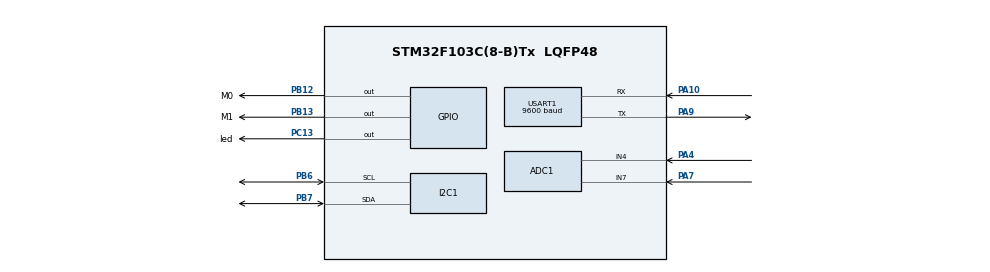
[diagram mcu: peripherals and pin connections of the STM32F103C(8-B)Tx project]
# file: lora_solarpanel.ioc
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ADC1.Channel-0\#ChannelRegularConversion=ADC_CHANNEL_4
ADC1.NbrOfConversionFlag=1
ADC1.Rank-0\#ChannelRegularConversion=1
ADC1.SamplingTime-0\#ChannelRegularConversion=ADC_SAMPLETIME_71CYCLES_5
ADC1.master=1
Mcu.Family=STM32F1
Mcu.Name=STM32F103C(8-B)Tx
Mcu.Package=LQFP48
NVIC.PriorityGroup=NVIC_PRIORITYGROUP_4
NVIC.USART1_IRQn=true\:0\:0\:false\:false\:true\:true\:true\:true
PA10.Mode=Asynchronous
PA10.Signal=USART1_RX
PA13.Mode=Serial_Wire
PA13.Signal=SYS_JTMS-SWDIO
PA14.Mode=Serial_Wire
PA14.Signal=SYS_JTCK-SWCLK
PA4.Signal=ADCx_IN4
PA7.Signal=ADCx_IN7
PA9.Mode=Asynchronous
PA9.Signal=USART1_TX
PB12.GPIO_Label=M0
PB12.Signal=GPIO_Output
PB13.GPIO_Label=M1
PB13.Signal=GPIO_Output
PB6.Mode=I2C
PB6.Signal=I2C1_SCL
PB7.Mode=I2C
PB7.Signal=I2C1_SDA
PC13-TAMPER-RTC.GPIO_Label=led
PC13-TAMPER-RTC.Signal=GPIO_Output
PD0-OSC_IN.Mode=HSE-External-Oscillator
PD0-OSC_IN.Signal=RCC_OSC_IN
PD1-OSC_OUT.Mode=HSE-External-Oscillator
PD1-OSC_OUT.Signal=RCC_OSC_OUT
ProjectManager.HeapSize=0x200
ProjectManager.StackSize=0x400
ProjectManager.TargetToolchain=STM32CubeIDE
RCC.APB1Freq_Value=8000000
RCC.APB2Freq_Value=8000000
SH.ADCx_IN4.0=ADC1_IN4,IN4
SH.ADCx_IN7.0=ADC1_IN7,IN7
USART1.BaudRate=9600
USART1.VirtualMode=VM_ASYNC
board=custom

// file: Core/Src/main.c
/* USER CODE BEGIN Header */
/**
  ******************************************************************************
  * @file           : main.c
  * @brief          : Main program body
  ******************************************************************************
  * @attention
  *
  * Copyright (c) 2025 STMicroelectronics.
  * All rights reserved.
  *
  * This software is licensed under terms that can be found in the LICENSE file
  * in the root directory of this software component.
  * If no LICENSE file comes with this software, it is provided AS-IS.
  *
  ******************************************************************************
  */
/* USER CODE END Header */
#include "main.h"

/* USER CODE BEGIN Includes */
#include "stdio.h"     // sprintf fomksiyou için

/* USER CODE END Includes */

ADC_HandleTypeDef hadc1;

I2C_HandleTypeDef hi2c1;

UART_HandleTypeDef huart1;

/* USER CODE BEGIN PV */

typedef struct{
	  float cur;
	  float temp;
	  float nem;
	  float volt;
  }DataPacket;

 uint8_t data[3] = {0x03,0x00,0x04};
 HAL_StatusTypeDef status;
 uint8_t buff[8];
 DataPacket packet;
 uint8_t startByte = 0xAA; // Başlangıç bayrağı
 uint8_t endByte = 0xBB;   // Bitiş bayrağı

 float adc_akim , adc_volt, adc_voltage,akim_sensor_volt;

/* USER CODE END PV */

void SystemClock_Config(void);
static void MX_GPIO_Init(void);
static void MX_USART1_UART_Init(void);
static void MX_I2C1_Init(void);
static void MX_ADC1_Init(void);
/* USER CODE BEGIN PFP */
void TransmitAddressAndChannel(uint8_t receiverAddressLow, uint8_t receiverAddressHigh, uint8_t channelInfo);
unsigned short crc16(unsigned char *ptr, unsigned char len);
void GetData_AM2315(void);

/* USER CODE END PFP */

int main(void)
{

  /* MCU Configuration--------------------------------------------------------*/

  /* Reset of all peripherals, Initializes the Flash interface and the Systick. */
  HAL_Init();

  /* Configure the system clock */
  SystemClock_Config();

  /* Initialize all configured peripherals */
  MX_GPIO_Init();
  MX_USART1_UART_Init();
  MX_I2C1_Init();
  MX_ADC1_Init();
  /* USER CODE BEGIN 2 */
  HAL_GPIO_WritePin(M0_GPIO_Port, M0_Pin, GPIO_PIN_RESET);
  HAL_GPIO_WritePin(M1_GPIO_Port, M1_Pin, GPIO_PIN_RESET);

  packet.cur=1.11;
  packet.volt=11.11;
  ADC_ChannelConfTypeDef sConfig = {0};

  /* USER CODE END 2 */

  /* Infinite loop */
  while (1)
  {

    /* USER CODE BEGIN 3 */
  	  HAL_I2C_IsDeviceReady(&hi2c1, 0xb8, 2, 1);
	  GetData_AM2315();

	  sConfig.Channel = ADC_CHANNEL_4;
	  sConfig.Rank = ADC_REGULAR_RANK_1;
	  sConfig.SamplingTime = ADC_SAMPLETIME_71CYCLES_5;
	  HAL_ADC_ConfigChannel(&hadc1, &sConfig);
	  HAL_ADC_Start(&hadc1);
	  HAL_ADC_PollForConversion(&hadc1, HAL_MAX_DELAY);
	  adc_akim= HAL_ADC_GetValue(&hadc1);
	  HAL_ADC_Stop(&hadc1);

	  sConfig.Channel = ADC_CHANNEL_7;
	  sConfig.Rank = ADC_REGULAR_RANK_1;
	  sConfig.SamplingTime = ADC_SAMPLETIME_71CYCLES_5;
	  HAL_ADC_ConfigChannel(&hadc1, &sConfig);

	  HAL_ADC_Start(&hadc1);
	  HAL_ADC_PollForConversion(&hadc1, HAL_MAX_DELAY);
	  adc_volt= HAL_ADC_GetValue(&hadc1);
	  HAL_ADC_Stop(&hadc1);

	  adc_voltage = (adc_volt * 3.24f) / 4095.0f;
	  packet.volt = adc_voltage * (100.0f + 10.0f) / 10.0f;

	  akim_sensor_volt = (adc_akim * 3.24f) / 4095.0f;
	  packet.cur= (akim_sensor_volt - 2.5f) / 0.185f;

	  TransmitAddressAndChannel(0x00, 0xc, 0x17);
	  HAL_UART_Transmit(&huart1, &startByte, 1, HAL_MAX_DELAY); // Başlangıç bayrağı
	  HAL_UART_Transmit(&huart1, (uint8_t*)&packet, sizeof(packet), HAL_MAX_DELAY);
	  HAL_UART_Transmit(&huart1, &endByte, 1, HAL_MAX_DELAY);   // Bitiş bayrağı

	  HAL_GPIO_TogglePin(led_GPIO_Port, led_Pin);
	  HAL_Delay(2000);
  }
  /* USER CODE END 3 */
}

void SystemClock_Config(void)
{
  RCC_OscInitTypeDef RCC_OscInitStruct = {0};
  RCC_ClkInitTypeDef RCC_ClkInitStruct = {0};
  RCC_PeriphCLKInitTypeDef PeriphClkInit = {0};

  /** Initializes the RCC Oscillators according to the specified parameters
  * in the RCC_OscInitTypeDef structure.
  */
  RCC_OscInitStruct.OscillatorType = RCC_OSCILLATORTYPE_HSI;
  RCC_OscInitStruct.HSIState = RCC_HSI_ON;
  RCC_OscInitStruct.HSICalibrationValue = RCC_HSICALIBRATION_DEFAULT;
  RCC_OscInitStruct.PLL.PLLState = RCC_PLL_NONE;
  if (HAL_RCC_OscConfig(&RCC_OscInitStruct) != HAL_OK)
  {
    Error_Handler();
  }

  /** Initializes the CPU, AHB and APB buses clocks
  */
  RCC_ClkInitStruct.ClockType = RCC_CLOCKTYPE_HCLK|RCC_CLOCKTYPE_SYSCLK
                              |RCC_CLOCKTYPE_PCLK1|RCC_CLOCKTYPE_PCLK2;
  RCC_ClkInitStruct.SYSCLKSource = RCC_SYSCLKSOURCE_HSI;
  RCC_ClkInitStruct.AHBCLKDivider = RCC_SYSCLK_DIV1;
  RCC_ClkInitStruct.APB1CLKDivider = RCC_HCLK_DIV1;
  RCC_ClkInitStruct.APB2CLKDivider = RCC_HCLK_DIV1;

  if (HAL_RCC_ClockConfig(&RCC_ClkInitStruct, FLASH_LATENCY_0) != HAL_OK)
  {
    Error_Handler();
  }
  PeriphClkInit.PeriphClockSelection = RCC_PERIPHCLK_ADC;
  PeriphClkInit.AdcClockSelection = RCC_ADCPCLK2_DIV2;
  if (HAL_RCCEx_PeriphCLKConfig(&PeriphClkInit) != HAL_OK)
  {
    Error_Handler();
  }
}

static void MX_ADC1_Init(void)
{

  ADC_ChannelConfTypeDef sConfig = {0};

  /** Common config
  */
  hadc1.Instance = ADC1;
  hadc1.Init.ScanConvMode = ADC_SCAN_DISABLE;
  hadc1.Init.ContinuousConvMode = DISABLE;
  hadc1.Init.DiscontinuousConvMode = DISABLE;
  hadc1.Init.ExternalTrigConv = ADC_SOFTWARE_START;
  hadc1.Init.DataAlign = ADC_DATAALIGN_RIGHT;
  hadc1.Init.NbrOfConversion = 1;
  if (HAL_ADC_Init(&hadc1) != HAL_OK)
  {
    Error_Handler();
  }

  /** Configure Regular Channel
  */
  sConfig.Channel = ADC_CHANNEL_4;
  sConfig.Rank = ADC_REGULAR_RANK_1;
  sConfig.SamplingTime = ADC_SAMPLETIME_71CYCLES_5;
  if (HAL_ADC_ConfigChannel(&hadc1, &sConfig) != HAL_OK)
  {
    Error_Handler();
  }

}

static void MX_I2C1_Init(void)
{

  hi2c1.Instance = I2C1;
  hi2c1.Init.ClockSpeed = 100000;
  hi2c1.Init.DutyCycle = I2C_DUTYCYCLE_2;
  hi2c1.Init.OwnAddress1 = 0;
  hi2c1.Init.AddressingMode = I2C_ADDRESSINGMODE_7BIT;
  hi2c1.Init.DualAddressMode = I2C_DUALADDRESS_DISABLE;
  hi2c1.Init.OwnAddress2 = 0;
  hi2c1.Init.GeneralCallMode = I2C_GENERALCALL_DISABLE;
  hi2c1.Init.NoStretchMode = I2C_NOSTRETCH_DISABLE;
  if (HAL_I2C_Init(&hi2c1) != HAL_OK)
  {
    Error_Handler();
  }

}

static void MX_USART1_UART_Init(void)
{

  huart1.Instance = USART1;
  huart1.Init.BaudRate = 9600;
  huart1.Init.WordLength = UART_WORDLENGTH_8B;
  huart1.Init.StopBits = UART_STOPBITS_1;
  huart1.Init.Parity = UART_PARITY_NONE;
  huart1.Init.Mode = UART_MODE_TX_RX;
  huart1.Init.HwFlowCtl = UART_HWCONTROL_NONE;
  huart1.Init.OverSampling = UART_OVERSAMPLING_16;
  if (HAL_UART_Init(&huart1) != HAL_OK)
  {
    Error_Handler();
  }

}

static void MX_GPIO_Init(void)
{
  GPIO_InitTypeDef GPIO_InitStruct = {0};

  /* GPIO Ports Clock Enable */
  __HAL_RCC_GPIOC_CLK_ENABLE();
  __HAL_RCC_GPIOD_CLK_ENABLE();
  __HAL_RCC_GPIOA_CLK_ENABLE();
  __HAL_RCC_GPIOB_CLK_ENABLE();

  /*Configure GPIO pin Output Level */
  HAL_GPIO_WritePin(led_GPIO_Port, led_Pin, GPIO_PIN_RESET);

  /*Configure GPIO pin Output Level */
  HAL_GPIO_WritePin(GPIOB, M0_Pin|M1_Pin, GPIO_PIN_RESET);

  /*Configure GPIO pin : led_Pin */
  GPIO_InitStruct.Pin = led_Pin;
  GPIO_InitStruct.Mode = GPIO_MODE_OUTPUT_PP;
  GPIO_InitStruct.Pull = GPIO_NOPULL;
  GPIO_InitStruct.Speed = GPIO_SPEED_FREQ_LOW;
  HAL_GPIO_Init(led_GPIO_Port, &GPIO_InitStruct);

  /*Configure GPIO pins : M0_Pin M1_Pin */
  GPIO_InitStruct.Pin = M0_Pin|M1_Pin;
  GPIO_InitStruct.Mode = GPIO_MODE_OUTPUT_PP;
  GPIO_InitStruct.Pull = GPIO_NOPULL;
  GPIO_InitStruct.Speed = GPIO_SPEED_FREQ_LOW;
  HAL_GPIO_Init(GPIOB, &GPIO_InitStruct);

}

/* USER CODE BEGIN 4 */
void TransmitAddressAndChannel(uint8_t receiverAddressLow, uint8_t receiverAddressHigh, uint8_t channelInfo)
{
    HAL_UART_Transmit(&huart1, &receiverAddressLow, 1, HAL_MAX_DELAY);
    HAL_UART_Transmit(&huart1, &receiverAddressHigh, 1, HAL_MAX_DELAY);
    HAL_UART_Transmit(&huart1, &channelInfo, 1, HAL_MAX_DELAY);
}

unsigned short crc16(unsigned char *ptr, unsigned char len)
{
   unsigned short crc=0xFFFF;
   unsigned char i;
   while(len--)
   {
      crc ^=*ptr++;
      for(i=0;i<8;i++)
      {
        if(crc & 0x01)
        {
           crc>>=1;
           crc^=0xA001;
        }else
        {
          crc>>=1;
        }
      }
  }
  return crc;
}

void GetData_AM2315(void)
{

	HAL_I2C_Master_Transmit(&hi2c1, 0xb8, data, 3, 100);
	HAL_I2C_Master_Receive(&hi2c1, 0xb9, buff, 8, 100);

	unsigned int Rcrc = buff[7] << 8;
	Rcrc += buff[6];

	if(Rcrc == crc16(buff, 6))
	{
		 unsigned int temp = ((buff[4] & 0x7F)<<8) + buff[5];
		 packet.temp = temp/10.0;
		 packet.temp= (((buff[4] & 0x80)>>7) ==1) ?  ((packet.temp)*(-1)) : packet.temp;

		 unsigned int humdty = (buff[2] << 8) + buff[3];
		 packet.nem = humdty/10.0;

	}
	else{
		//eğer iletişim başarılı değilse 0 atasın
		packet.temp=0;
		packet.nem=0;
	}
}
/* USER CODE END 4 */

void Error_Handler(void)
{
  __disable_irq();
  while (1)
  {
  }
}
